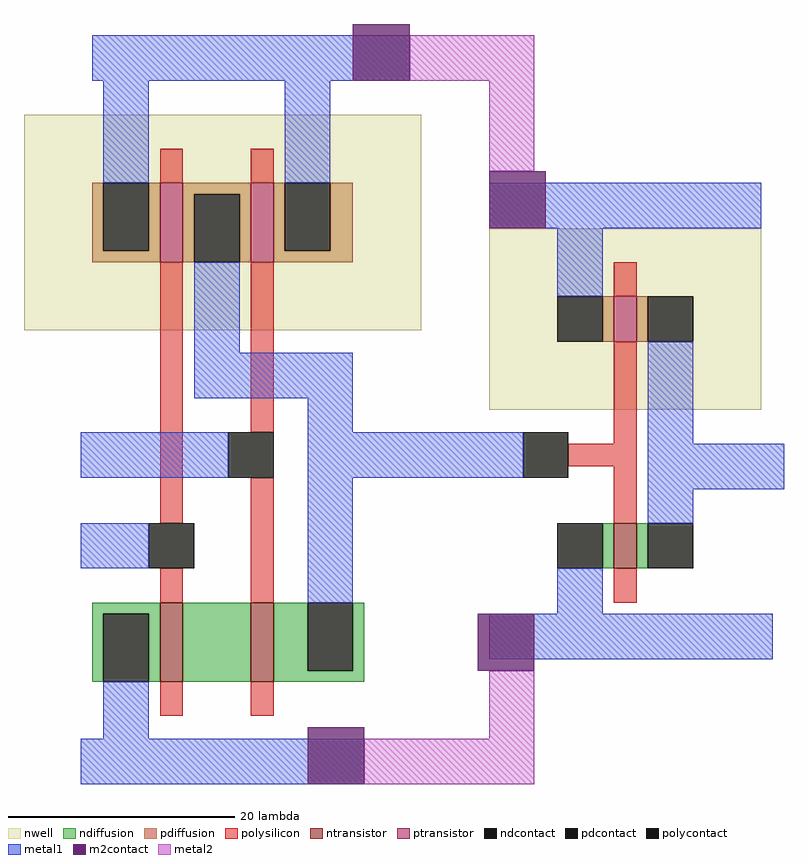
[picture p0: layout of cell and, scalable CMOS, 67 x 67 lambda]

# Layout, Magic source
magic
tech scmos
<< metal1 >>
rect 6 62 7 66
rect 5 27 6 31
rect 28 27 41 31
rect 66 26 67 30
rect 5 19 6 23
rect 5 0 6 4
<< m2contact >>
rect 29 62 34 67
rect 41 49 46 54
rect 40 10 45 15
rect 25 0 30 5
<< metal2 >>
rect 34 62 45 66
rect 41 54 45 62
rect 41 4 45 10
rect 30 0 45 4
use nand  nand_0
transform 1 0 18 0 1 40
box -18 -40 17 26
use inverter  inverter_0
transform 1 0 73 0 1 45
box -32 -34 -7 8
<< end >>

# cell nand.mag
magic
tech scmos
<< nwell >>
rect -18 0 17 19
<< ntransistor >>
rect -6 -31 -4 -24
rect 2 -31 4 -24
<< ptransistor >>
rect -6 6 -4 13
rect 2 6 4 13
<< ndiffusion >>
rect -12 -25 -6 -24
rect -12 -31 -11 -25
rect -7 -31 -6 -25
rect -4 -31 2 -24
rect 4 -30 7 -24
rect 11 -30 12 -24
rect 4 -31 12 -30
<< pdiffusion >>
rect -12 7 -11 13
rect -7 7 -6 13
rect -12 6 -6 7
rect -4 12 2 13
rect -4 6 -3 12
rect 1 6 2 12
rect 4 7 5 13
rect 9 7 11 13
rect 4 6 11 7
<< ndcontact >>
rect -11 -31 -7 -25
rect 7 -30 11 -24
<< pdcontact >>
rect -11 7 -7 13
rect -3 6 1 12
rect 5 7 9 13
<< polysilicon >>
rect -6 13 -4 16
rect 2 13 4 16
rect -6 -17 -4 6
rect 2 -9 4 6
rect -6 -24 -4 -21
rect 2 -24 4 -13
rect -6 -34 -4 -31
rect 2 -34 4 -31
<< polycontact >>
rect 0 -13 4 -9
rect -7 -21 -3 -17
<< metal1 >>
rect -11 22 16 26
rect -11 13 -7 22
rect 5 13 9 22
rect -3 -2 1 6
rect -3 -6 11 -2
rect 7 -9 11 -6
rect -12 -13 0 -9
rect 7 -13 14 -9
rect -12 -21 -7 -17
rect 7 -24 11 -13
rect -11 -36 -7 -31
rect -12 -40 12 -36
<< end >>

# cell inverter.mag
magic
tech scmos
<< nwell >>
rect -32 -12 -8 4
<< ntransistor >>
rect -21 -26 -19 -22
<< ptransistor >>
rect -21 -6 -19 -2
<< ndiffusion >>
rect -22 -26 -21 -22
rect -19 -26 -18 -22
<< pdiffusion >>
rect -22 -6 -21 -2
rect -19 -6 -18 -2
<< ndcontact >>
rect -26 -26 -22 -22
rect -18 -26 -14 -22
<< pdcontact >>
rect -26 -6 -22 -2
rect -18 -6 -14 -2
<< polysilicon >>
rect -21 -2 -19 1
rect -21 -15 -19 -6
rect -25 -17 -19 -15
rect -21 -22 -19 -17
rect -21 -29 -19 -26
<< polycontact >>
rect -29 -18 -25 -14
<< metal1 >>
rect -32 4 -8 8
rect -26 -2 -22 4
rect -32 -18 -29 -14
rect -18 -15 -14 -6
rect -18 -19 -7 -15
rect -18 -22 -14 -19
rect -26 -30 -22 -26
rect -32 -34 -7 -30
<< end >>
